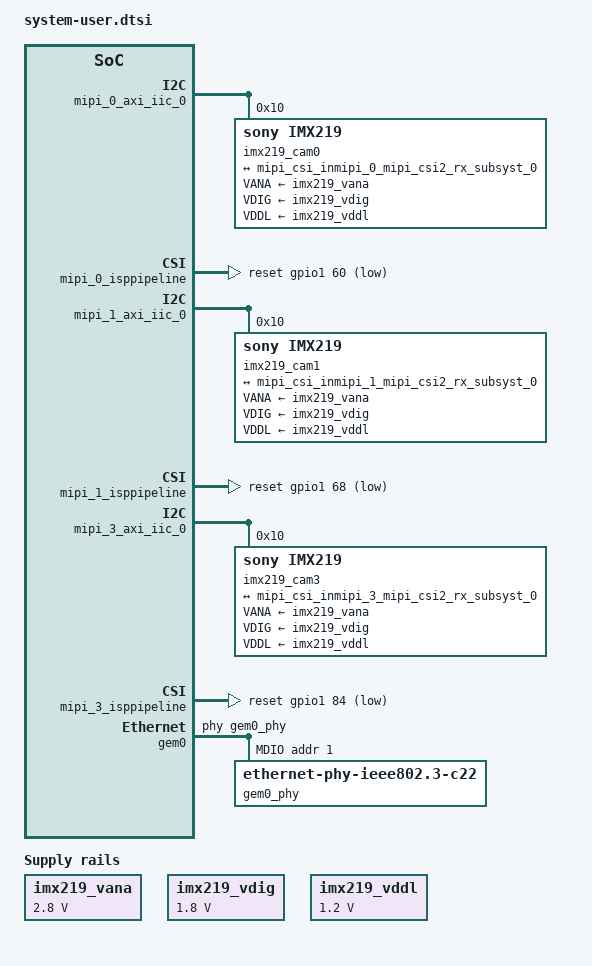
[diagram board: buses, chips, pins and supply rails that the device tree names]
// SPDX-License-Identifier: MIT
// Copyright (C) 2025-2026, Opsero Electronic Design Inc.  All rights reserved.

/*
 * Board / design fixups for vek280 (VEK280 FMCP, Versal), layered on top
 * of the gen-machineconf / lopper-generated Linux device tree (which already
 * carries the PS config and the design's PL hardware from the XSA). Scoped to
 * the Linux domain by device-tree.bbappend. Camera part ported from the
 * ZynqMP BSPs (Yocto/bsp/zcu106); cameras on this target: CAM0, CAM1, CAM3.
 */

&amba_pl {
	imx219_clk: imx219_clk {
		#clock-cells = <0x0>;
		clock-frequency = <24000000>;
		compatible = "fixed-clock";
	};

	imx219_vana: fixedregulator@3 {
		compatible = "regulator-fixed";
		regulator-name = "imx219_vana";
		regulator-min-microvolt = <2800000>;
		regulator-max-microvolt = <2800000>;
		enable-active-high;
	};

	imx219_vdig: fixedregulator@4 {
		compatible = "regulator-fixed";
		regulator-name = "imx219_vdig";
		regulator-min-microvolt = <1800000>;
		regulator-max-microvolt = <1800000>;
	};

	imx219_vddl: fixedregulator@5 {
		compatible = "regulator-fixed";
		regulator-name = "imx219_vddl";
		regulator-min-microvolt = <1200000>;
		regulator-max-microvolt = <1200000>;
	};
};

&mipi_0_axi_iic_0 {
	imx219_cam0: sensor@10 {
		compatible = "sony,imx219";
		reg = <0x10>;
		clocks = <&imx219_clk>;
		VANA-supply = <&imx219_vana>;   /* 2.8v */
		VDIG-supply = <&imx219_vdig>;   /* 1.8v */
		VDDL-supply = <&imx219_vddl>;   /* 1.2v */

		port {
			imx219_cam0_0: endpoint {
				remote-endpoint = <&mipi_csi_inmipi_0_mipi_csi2_rx_subsyst_0>;
				data-lanes = <1 2>;
				link-frequencies = /bits/ 64 <456000000>;
			};
		};
	};
};

&mipi_0_mipi_csi2_rx_subsyst_0 {
	xlnx,en-active-lanes;
};

&mipi_csi_inmipi_0_mipi_csi2_rx_subsyst_0 {
	remote-endpoint = <&imx219_cam0_0>;
};

&mipi_csi_port0mipi_0_mipi_csi2_rx_subsyst_0 {
	xlnx,cfa-pattern = "rggb";
	xlnx,video-format = <12>;
	xlnx,video-width = <8>;
};

&mipi_csi_port1mipi_0_mipi_csi2_rx_subsyst_0 {
	xlnx,cfa-pattern = "rggb";
	xlnx,video-format = <12>;
	xlnx,video-width = <8>;
};

/* IP resets are PMC EMIO GPIOs (bits 8..10) = pmc_gpio (gpio1) offsets
 * 52+bit (xlnx,pmc-gpio-1.0: EMIO bank 3 starts at 52). lopper 2025.2 maps
 * them to the PS GPIO (gpio0, offset 26+bit), which is disabled and is not the
 * controller driving PMC_GPIO_o, so all reset-gpios are overridden here. */
&mipi_0_isppipeline {
	reset-gpios = <&gpio1 60 1>;
	xlnx,max-height = /bits/ 16 <1232>;
	xlnx,max-width = /bits/ 16 <1920>;
	xlnx,rgain = /bits/ 16 <128>;
	xlnx,bgain = /bits/ 16 <210>;
	xlnx,pawb = /bits/ 16 <350>;
	xlnx,mode-reg = <1>;
};

&isppipeline_port0mipi_0_isppipeline {
	xlnx,video-width = <10>;
	xlnx,cfa-pattern = "rggb";
};

&isppipeline_port1mipi_0_isppipeline {
	xlnx,video-width = <8>;
	xlnx,cfa-pattern = "rggb";
};

&mipi_0_v_proc {
	compatible = "xlnx,v-vpss-scaler-2.2";
	reset-gpios = <&gpio1 61 1>;
};

&mipi_0_v_frmbuf_wr {
	reset-gpios = <&gpio1 62 1>;
};

&mipi_1_axi_iic_0 {
	imx219_cam1: sensor@10 {
		compatible = "sony,imx219";
		reg = <0x10>;
		clocks = <&imx219_clk>;
		VANA-supply = <&imx219_vana>;   /* 2.8v */
		VDIG-supply = <&imx219_vdig>;   /* 1.8v */
		VDDL-supply = <&imx219_vddl>;   /* 1.2v */

		port {
			imx219_cam1_0: endpoint {
				remote-endpoint = <&mipi_csi_inmipi_1_mipi_csi2_rx_subsyst_0>;
				data-lanes = <1 2>;
				link-frequencies = /bits/ 64 <456000000>;
			};
		};
	};
};

&mipi_1_mipi_csi2_rx_subsyst_0 {
	xlnx,en-active-lanes;
};

&mipi_csi_inmipi_1_mipi_csi2_rx_subsyst_0 {
	remote-endpoint = <&imx219_cam1_0>;
};

&mipi_csi_port0mipi_1_mipi_csi2_rx_subsyst_0 {
	xlnx,cfa-pattern = "rggb";
	xlnx,video-format = <12>;
	xlnx,video-width = <8>;
};

&mipi_csi_port1mipi_1_mipi_csi2_rx_subsyst_0 {
	xlnx,cfa-pattern = "rggb";
	xlnx,video-format = <12>;
	xlnx,video-width = <8>;
};

/* IP resets are PMC EMIO GPIOs (bits 16..18) = pmc_gpio (gpio1) offsets
 * 52+bit (xlnx,pmc-gpio-1.0: EMIO bank 3 starts at 52). lopper 2025.2 maps
 * them to the PS GPIO (gpio0, offset 26+bit), which is disabled and is not the
 * controller driving PMC_GPIO_o, so all reset-gpios are overridden here. */
&mipi_1_isppipeline {
	reset-gpios = <&gpio1 68 1>;
	xlnx,max-height = /bits/ 16 <1232>;
	xlnx,max-width = /bits/ 16 <1920>;
	xlnx,rgain = /bits/ 16 <128>;
	xlnx,bgain = /bits/ 16 <210>;
	xlnx,pawb = /bits/ 16 <350>;
	xlnx,mode-reg = <1>;
};

&isppipeline_port0mipi_1_isppipeline {
	xlnx,video-width = <10>;
	xlnx,cfa-pattern = "rggb";
};

&isppipeline_port1mipi_1_isppipeline {
	xlnx,video-width = <8>;
	xlnx,cfa-pattern = "rggb";
};

&mipi_1_v_proc {
	compatible = "xlnx,v-vpss-scaler-2.2";
	reset-gpios = <&gpio1 69 1>;
};

&mipi_1_v_frmbuf_wr {
	reset-gpios = <&gpio1 70 1>;
};

&mipi_3_axi_iic_0 {
	imx219_cam3: sensor@10 {
		compatible = "sony,imx219";
		reg = <0x10>;
		clocks = <&imx219_clk>;
		VANA-supply = <&imx219_vana>;   /* 2.8v */
		VDIG-supply = <&imx219_vdig>;   /* 1.8v */
		VDDL-supply = <&imx219_vddl>;   /* 1.2v */

		port {
			imx219_cam3_0: endpoint {
				remote-endpoint = <&mipi_csi_inmipi_3_mipi_csi2_rx_subsyst_0>;
				data-lanes = <1 2>;
				link-frequencies = /bits/ 64 <456000000>;
			};
		};
	};
};

&mipi_3_mipi_csi2_rx_subsyst_0 {
	xlnx,en-active-lanes;
};

&mipi_csi_inmipi_3_mipi_csi2_rx_subsyst_0 {
	remote-endpoint = <&imx219_cam3_0>;
};

&mipi_csi_port0mipi_3_mipi_csi2_rx_subsyst_0 {
	xlnx,cfa-pattern = "rggb";
	xlnx,video-format = <12>;
	xlnx,video-width = <8>;
};

&mipi_csi_port1mipi_3_mipi_csi2_rx_subsyst_0 {
	xlnx,cfa-pattern = "rggb";
	xlnx,video-format = <12>;
	xlnx,video-width = <8>;
};

/* IP resets are PMC EMIO GPIOs (bits 32..34) = pmc_gpio (gpio1) offsets
 * 52+bit (xlnx,pmc-gpio-1.0: EMIO bank 3 starts at 52). lopper 2025.2 maps
 * them to the PS GPIO (gpio0, offset 26+bit), which is disabled and is not the
 * controller driving PMC_GPIO_o, so all reset-gpios are overridden here. */
&mipi_3_isppipeline {
	reset-gpios = <&gpio1 84 1>;
	xlnx,max-height = /bits/ 16 <1232>;
	xlnx,max-width = /bits/ 16 <1920>;
	xlnx,rgain = /bits/ 16 <128>;
	xlnx,bgain = /bits/ 16 <210>;
	xlnx,pawb = /bits/ 16 <350>;
	xlnx,mode-reg = <1>;
};

&isppipeline_port0mipi_3_isppipeline {
	xlnx,video-width = <10>;
	xlnx,cfa-pattern = "rggb";
};

&isppipeline_port1mipi_3_isppipeline {
	xlnx,video-width = <8>;
	xlnx,cfa-pattern = "rggb";
};

&mipi_3_v_proc {
	compatible = "xlnx,v-vpss-scaler-2.2";
	reset-gpios = <&gpio1 85 1>;
};

&mipi_3_v_frmbuf_wr {
	reset-gpios = <&gpio1 86 1>;
};

/* Display pipeline (v_mix + v_tc -> DVI over HDMI): wired up by the dvi-out
 * layer (Yocto/bsp/dvi-out, dvi-out.dtsi), added via bblayers-extra.txt.
 * Mixer reset = PMC EMIO GPIO bit 1. */
&display_pipeline_v_mix_0 {
	reset-gpios = <&gpio1 53 1>;
};

/* Board RJ45 (GEM0 = u198 PHY): the SDT flow does not describe the
 * board-level PHY, so Linux falls back to the Generic PHY driver and the
 * RGMII clock delays are never programmed. The PHY at MDIO addr 1 differs by
 * board revision (official dts): revA TI DP83867 (RX 0xb / TX 0xa), revB ADI
 * ADIN1300 (RX/TX 2000 ps), so the node carries no PHY-ID compatible and each
 * driver reads only its own properties (as in the other Opsero VEK280 BSPs).
 * No fixed MAC yet: no bench MAC is allocated for VEK280 in
 * scripts/board_configs.json.
 */
&gem0 {
	phy-handle = <&gem0_phy>;
	mdio {
		#address-cells = <1>;
		#size-cells = <0>;
		gem0_phy: ethernet-phy@1 {
			compatible = "ethernet-phy-ieee802.3-c22";
			reg = <1>;
			ti,rx-internal-delay = <0xb>;
			ti,tx-internal-delay = <0xa>;
			ti,fifo-depth = <0x1>;
			ti,dp83867-rxctrl-strap-quirk;
			adi,rx-internal-delay-ps = <2000>;
			adi,tx-internal-delay-ps = <2000>;
			adi,fifo-depth-bits = <8>;
		};
	};
};
